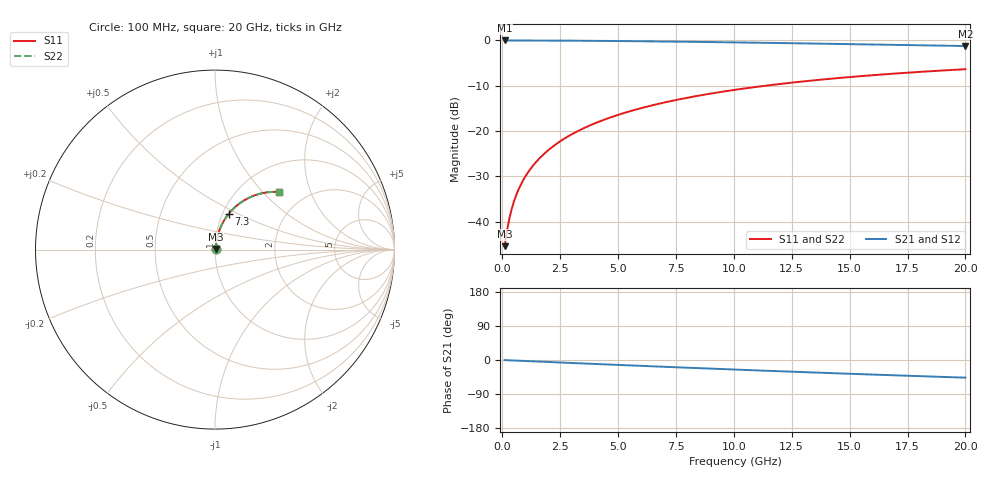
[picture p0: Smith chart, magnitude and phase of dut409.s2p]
! Touchstone file exported from HFSS 2026.1.0
!  File:  C:/ffzhzh/LocalFiles/Ansys_Project_Files/temp_train_TMRDL_409_1783005049_51716.aedt
!  Generated:  11:12:11 PM Jul  2, 2026
!  Design:  TMRDL
!  Project:  temp_train_TMRDL_409_1783005049_51716
! Variables:
!  h_bsmrdl = 2um
!  h_ox = 20um
!  h_rdl = 5um
!  h_sub = 80um
!  h_tmrdl = 3.67um
!  h_tsv = 80um
!  h_via = 3um
!  l_bsmrdl = 300um
!  l_sub = 1051.79um
!  l_tmrdl = 651.79um
!  m_sub = 200um
!  pitch = 47.14um
!  r_tsv = 6um
!  s_tmrdl = 10um
!  w_bsmrdl = 18um
!  w_sub = 500um
!  w_tmrdl = 15.11um
!  x_tsv_center1 = 659.345um
!  x_tsv_center2 = 977.345um
!  x_tsv_center3 = 1644.245um
!  x_tsv_center4 = 1962.245um
!  x_tsv_center5 = 2629.145um
!  x_tsv_center6 = 2947.145um
# GHz S MA R 50.000000
! Terminal data exported
! Port[1] = TM_RDL1_1_T1
! Port[2] = TM_RDL1_1_T2
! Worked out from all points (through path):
!   200 points, 100 MHz to 20 GHz, reference 50 ohm
!   highest |S21| = -0.04 dB at 100 MHz (marker M1); lowest = -1.3 dB at 20 GHz (marker M2)
!   group delay of S21, straight-line fit = 6.48 ps
!   lowest |S11| = -45.4 dB at 100 MHz (marker M3), VSWR 1.01, Z = 50.4 + j0.327 ohm
!   |S11| at or under -10 dB: start of sweep to 11.4 GHz
!   |S22| runs from -45.4 to -6.4 dB; largest |S21 - S12| = 3.5e-15
!   S11 on the Smith chart (normalised r, x): 100 MHz: 1.01, +0.01; 7.3 GHz: 1.07, +0.45; 20 GHz: 1.49, +1.24
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0.1  0.005353 37.2  0.9957 -0.3  0.9957 -0.3  0.005353 37.2
! Gamma 0 0 0 0
! Port Impedance 50 0 50 0
0.2  0.0078 55.7  0.9956 -0.5  0.9956 -0.5  0.0078 55.7
0.3  0.01064 64.4  0.9955 -0.8  0.9955 -0.8  0.01064 64.4
0.4  0.01358 69.2  0.9953 -1.1  0.9953 -1.1  0.01358 69.2
0.5  0.01656 72.2  0.9952 -1.3  0.9952 -1.3  0.01656 72.2
0.6  0.01955 74.2  0.995 -1.6  0.995 -1.6  0.01955 74.2
0.8  0.02554 76.7  0.9948 -2.1  0.9948 -2.1  0.02554 76.7
1.1  0.03457 78.6  0.9943 -2.9  0.9943 -2.9  0.03457 78.6
1.5  0.04666 79.5  0.9937 -4.0  0.9937 -4.0  0.04666 79.5
1.8  0.05573 79.7  0.9931 -4.7  0.9931 -4.7  0.05573 79.7
2.1  0.06479 79.6  0.9924 -5.5  0.9924 -5.5  0.06479 79.5
2.7  0.08283 78.9  0.9908 -7.1  0.9908 -7.1  0.08284 78.9
3.5  0.1067 77.5  0.988 -9.1  0.988 -9.1  0.1067 77.5
4.2  0.1272 76.0  0.9852 -10.9  0.9852 -10.9  0.1272 76.0
5  0.1503 74.3  0.9814 -13.0  0.9814 -13.0  0.1503 74.2
6.8  0.2005 70.1  0.9712 -17.5  0.9712 -17.5  0.2006 70.1
7.3  0.214 68.9  0.968 -18.7  0.968 -18.7  0.214 68.9
8.6  0.248 65.9  0.9591 -21.8  0.9591 -21.8  0.2481 65.9
10.1  0.2854 62.5  0.9479 -25.4  0.9479 -25.4  0.2854 62.5
13.4  0.3603 55.3  0.921 -32.9  0.921 -32.9  0.3603 55.2
16.7  0.425 48.4  0.8926 -39.9  0.8926 -39.9  0.425 48.4
20  0.4797 41.9  0.8644 -46.6  0.8644 -46.6  0.4797 41.9
